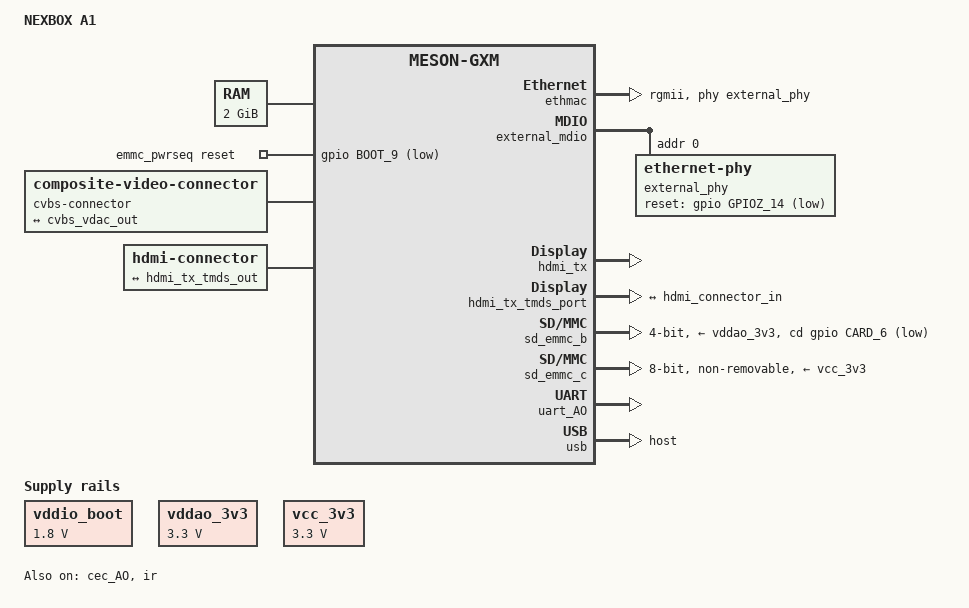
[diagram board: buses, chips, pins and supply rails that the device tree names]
// SPDX-License-Identifier: (GPL-2.0+ OR MIT)
/*
 * Copyright (c) 2016 BayLibre, SAS.
 * Author: Neil Armstrong <narmstrong@baylibre.com>
 *
 * Copyright (c) 2016 Endless Computers, Inc.
 * Author: Carlo Caione <carlo@endlessm.com>
 */

/dts-v1/;

#include "meson-gxm.dtsi"

/ {
	compatible = "nexbox,a1", "amlogic,s912", "amlogic,meson-gxm";
	model = "NEXBOX A1";

	aliases {
		serial0 = &uart_AO;
		ethernet0 = &ethmac;
	};

	chosen {
		stdout-path = "serial0:115200n8";
	};

	memory@0 {
		device_type = "memory";
		reg = <0x0 0x0 0x0 0x80000000>;
	};

	vddio_boot: regulator-vddio-boot {
		compatible = "regulator-fixed";
		regulator-name = "VDDIO_BOOT";
		regulator-min-microvolt = <1800000>;
		regulator-max-microvolt = <1800000>;
	};

	vddao_3v3: regulator-vddao-3v3 {
		compatible = "regulator-fixed";
		regulator-name = "VDDAO_3V3";
		regulator-min-microvolt = <3300000>;
		regulator-max-microvolt = <3300000>;
	};

	vcc_3v3: regulator-vcc-3v3 {
		compatible = "regulator-fixed";
		regulator-name = "VCC_3V3";
		regulator-min-microvolt = <3300000>;
		regulator-max-microvolt = <3300000>;
	};

	emmc_pwrseq: emmc-pwrseq {
		compatible = "mmc-pwrseq-emmc";
		reset-gpios = <&gpio BOOT_9 GPIO_ACTIVE_LOW>;
	};

	cvbs-connector {
		compatible = "composite-video-connector";

		port {
			cvbs_connector_in: endpoint {
				remote-endpoint = <&cvbs_vdac_out>;
			};
		};
	};

	hdmi-connector {
		compatible = "hdmi-connector";
		type = "a";

		port {
			hdmi_connector_in: endpoint {
				remote-endpoint = <&hdmi_tx_tmds_out>;
			};
		};
	};
};

&cec_AO {
	status = "okay";
	pinctrl-0 = <&ao_cec_pins>;
	pinctrl-names = "default";
	hdmi-phandle = <&hdmi_tx>;
};

&cvbs_vdac_port {
	cvbs_vdac_out: endpoint {
		remote-endpoint = <&cvbs_connector_in>;
	};
};

&ethmac {
	status = "okay";

	pinctrl-0 = <&eth_pins>;
	pinctrl-names = "default";

	/* Select external PHY by default */
	phy-handle = <&external_phy>;

	amlogic,tx-delay-ns = <2>;

	/* External PHY is in RGMII */
	phy-mode = "rgmii";
};

&external_mdio {
	external_phy: ethernet-phy@0 {
		/* Realtek RTL8211F (0x001cc916) */
		reg = <0>;
		max-speed = <1000>;

		reset-assert-us = <10000>;
		reset-deassert-us = <80000>;
		reset-gpios = <&gpio GPIOZ_14 GPIO_ACTIVE_LOW>;
	};
};

&hdmi_tx {
	status = "okay";
	pinctrl-0 = <&hdmi_hpd_pins>, <&hdmi_i2c_pins>;
	pinctrl-names = "default";
};

&hdmi_tx_tmds_port {
	hdmi_tx_tmds_out: endpoint {
		remote-endpoint = <&hdmi_connector_in>;
	};
};

&ir {
	status = "okay";
	pinctrl-0 = <&remote_input_ao_pins>;
	pinctrl-names = "default";
};

/* SD card */
&sd_emmc_b {
	status = "okay";
	pinctrl-0 = <&sdcard_pins>;
	pinctrl-1 = <&sdcard_clk_gate_pins>;
	pinctrl-names = "default", "clk-gate";

	bus-width = <4>;
	cap-sd-highspeed;
	max-frequency = <50000000>;
	disable-wp;

	cd-gpios = <&gpio CARD_6 GPIO_ACTIVE_LOW>;

	vmmc-supply = <&vddao_3v3>;
	vqmmc-supply = <&vddio_boot>;
};

/* eMMC */
&sd_emmc_c {
	status = "okay";
	pinctrl-0 = <&emmc_pins>, <&emmc_ds_pins>;
	pinctrl-1 = <&emmc_clk_gate_pins>;
	pinctrl-names = "default", "clk-gate";

	bus-width = <8>;
	cap-mmc-highspeed;
	max-frequency = <200000000>;
	non-removable;
	disable-wp;
	mmc-ddr-1_8v;
	mmc-hs200-1_8v;

	mmc-pwrseq = <&emmc_pwrseq>;
	vmmc-supply = <&vcc_3v3>;
	vqmmc-supply = <&vddio_boot>;
};

&uart_AO {
	status = "okay";
	pinctrl-0 = <&uart_ao_a_pins>;
	pinctrl-names = "default";
};

&usb {
	status = "okay";
	dr_mode = "host";
};
